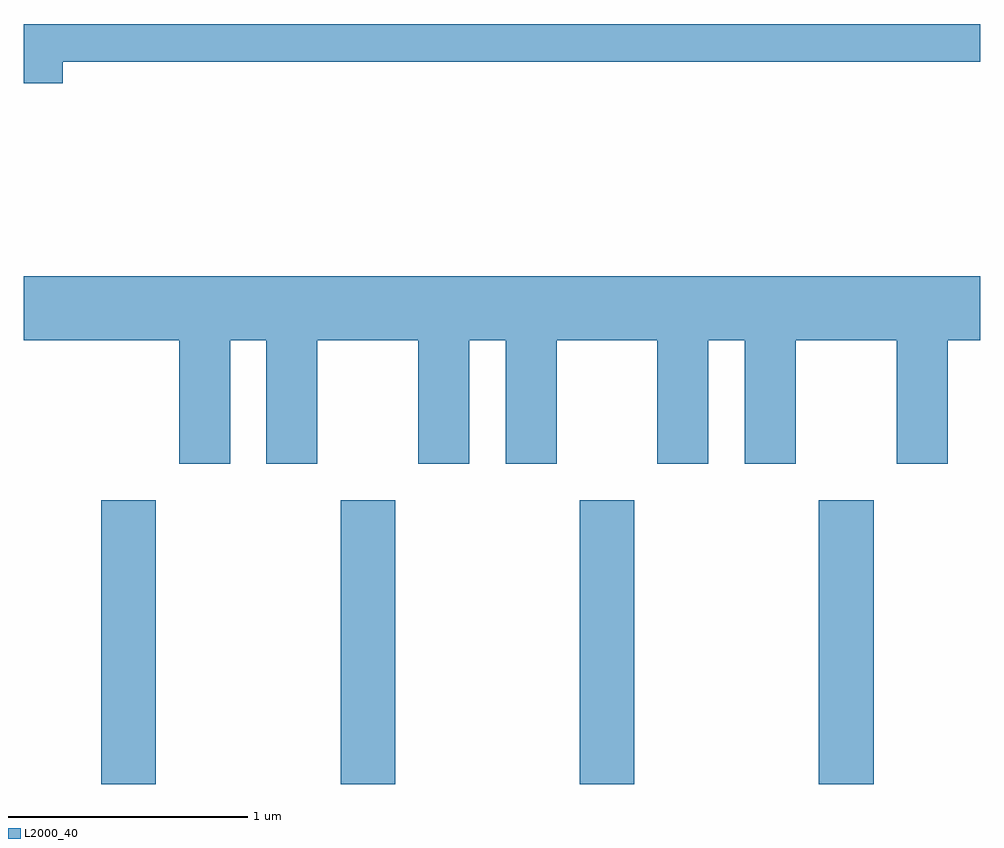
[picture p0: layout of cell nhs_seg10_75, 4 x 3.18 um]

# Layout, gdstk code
import gdstk
lib = gdstk.Library(unit=1e-6, precision=1e-09)
def R(c, l, rs):  # rectangles x0, y0, x1, y1
    for r in rs: c.add(gdstk.rectangle(r[:2], r[2:], *l))
def A(c, l, x, y, w, h, nx, ny, dx, dy):  # array of equal rectangles
    R(c, l, [(x+i*dx, y+j*dy, x+i*dx+w, y+j*dy+h) for i in range(nx) for j in range(ny)])
def P(c, l, *ps):  # polygons
    for p in ps: c.add(gdstk.Polygon(p, *l))
L2000_40 = (2000, 40)

nhs_seg10_75 = lib.new_cell('nhs_seg10_75')
A(nhs_seg10_75, L2000_40, 187.936, 2096.522, 0.228, 1.187, 4, 1, 1, 0)
P(nhs_seg10_75, L2000_40, [(187.774,2099.541),(191.611,2099.541),(191.611,2099.699),(187.611,2099.699),(187.611,2099.451),(187.774,2099.451)],
  [(188.474,2098.376),(188.626,2098.376),(188.626,2097.861),(188.839,2097.861),(188.839,2098.376),(189.261,2098.376),(189.261,2097.861),(189.474,2097.861),(189.474,2098.376),(189.626,2098.376),(189.626,2097.861),(189.839,2097.861),(189.839,2098.376),(190.261,2098.376),(190.261,2097.861),(190.474,2097.861),(190.474,2098.376),(190.626,2098.376),(190.626,2097.861),(190.839,2097.861),(190.839,2098.376),(191.261,2098.376),(191.261,2097.861),(191.474,2097.861),(191.474,2098.376),(191.611,2098.376),(191.611,2098.644),(187.611,2098.644),(187.611,2098.376),(188.261,2098.376),(188.261,2097.861),(188.474,2097.861)])

lib.write_gds('nhs_seg10_75.gds')
